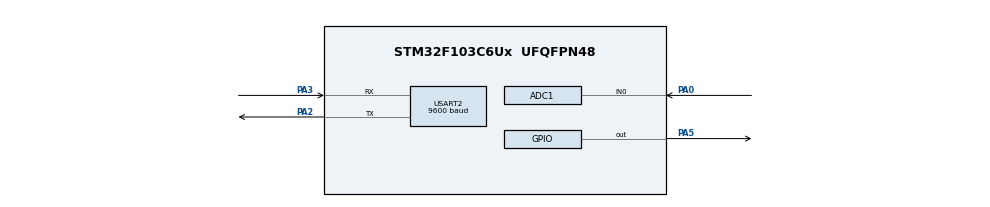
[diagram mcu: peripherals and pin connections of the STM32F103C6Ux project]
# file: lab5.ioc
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ADC1.Channel-0\#ChannelRegularConversion=ADC_CHANNEL_0
ADC1.ContinuousConvMode=ENABLE
ADC1.NbrOfConversionFlag=1
ADC1.Rank-0\#ChannelRegularConversion=1
ADC1.SamplingTime-0\#ChannelRegularConversion=ADC_SAMPLETIME_1CYCLE_5
ADC1.master=1
Mcu.Family=STM32F1
Mcu.Name=STM32F103C6Ux
Mcu.Package=UFQFPN48
NVIC.PriorityGroup=NVIC_PRIORITYGROUP_4
NVIC.TIM2_IRQn=true\:0\:0\:false\:false\:true\:true\:true
NVIC.USART2_IRQn=true\:0\:0\:false\:false\:true\:true\:true
PA0-WKUP.Signal=ADCx_IN0
PA2.Mode=Asynchronous
PA2.Signal=USART2_TX
PA3.Mode=Asynchronous
PA3.Signal=USART2_RX
PA5.Signal=GPIO_Output
ProjectManager.HeapSize=0x200
ProjectManager.StackSize=0x400
ProjectManager.TargetToolchain=STM32CubeIDE
RCC.APB1Freq_Value=8000000
RCC.APB2Freq_Value=8000000
SH.ADCx_IN0.0=ADC1_IN0,IN0
TIM2.Period=9
TIM2.Prescaler=7999
USART2.BaudRate=9600
USART2.VirtualMode=VM_ASYNC
VP_SYS_VS_ND.Mode=No_Debug
VP_TIM2_VS_ClockSourceINT.Mode=Internal
board=custom

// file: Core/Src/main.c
/* USER CODE BEGIN Header */
/**
  ******************************************************************************
  * @file           : main.c
  * @brief          : Main program body
  ******************************************************************************
  * @attention
  *
  * <h2><center>&copy; Copyright (c) 2024 STMicroelectronics.
  * All rights reserved.</center></h2>
  *
  * This software component is licensed by ST under BSD 3-Clause license,
  * the "License"; You may not use this file except in compliance with the
  * License. You may obtain a copy of the License at:
  *                        opensource.org/licenses/BSD-3-Clause
  *
  ******************************************************************************
  */
/* USER CODE END Header */
#include "main.h"

/* USER CODE BEGIN Includes */
#include "Timer.h"
#include "Global.h"
#include "cmd_parser.h"
#include "uart_com.h"
/* USER CODE END Includes */

ADC_HandleTypeDef hadc1;

TIM_HandleTypeDef htim2;

UART_HandleTypeDef huart2;

void SystemClock_Config(void);
static void MX_GPIO_Init(void);
static void MX_TIM2_Init(void);
static void MX_USART2_UART_Init(void);
static void MX_ADC1_Init(void);
/* USER CODE BEGIN PFP */
void HAL_TIM_PeriodElapsedCallback(TIM_HandleTypeDef *htim);
void HAL_UART_RxCpltCallback(UART_HandleTypeDef *huart);
/* USER CODE END PFP */

/* USER CODE BEGIN 0 */
void HAL_UART_RxCpltCallback(UART_HandleTypeDef *huart){
	if(huart->Instance == USART2){
		HAL_UART_Transmit(&huart2, &tmp, 1, 100);
		buffer[id_buffer++] = tmp;
		if(id_buffer >= MAX_BUFFER_SIZE){
			id_buffer = 0;
		}
		flag_buffer = 1;
		HAL_UART_Receive_IT(&huart2, &tmp, 1);
	}
}

/* USER CODE END 0 */

int main(void)
{

  /* MCU Configuration--------------------------------------------------------*/

  /* Reset of all peripherals, Initializes the Flash interface and the Systick. */
  HAL_Init();

  /* Configure the system clock */
  SystemClock_Config();

  /* Initialize all configured peripherals */
  MX_GPIO_Init();
  MX_TIM2_Init();
  MX_USART2_UART_Init();
  MX_ADC1_Init();

  /* Infinite loop */
  /* USER CODE BEGIN WHILE */
  	HAL_ADC_Start(&hadc1);
    HAL_TIM_Base_Start_IT(&htim2);
    HAL_UART_Receive_IT(&huart2, &tmp, 1); //coi
  while (1)
  {
//	HAL_GPIO_TogglePin(GPIOA, GPIO_PIN_5);
//	ADC_value = HAL_ADC_GetValue (&hadc1);
//	HAL_UART_Transmit (& huart2 , ( void *) str , sprintf (str , "%ld\n"
//	, ADC_value), 1000);
//	HAL_Delay (500);
    /* USER CODE END WHILE */
	if(flag_buffer==1)
	{
		cmd_parser_fsm();
		flag_buffer=0;
	}
	uart_com_fsm();
  }
}

void SystemClock_Config(void)
{
  RCC_OscInitTypeDef RCC_OscInitStruct = {0};
  RCC_ClkInitTypeDef RCC_ClkInitStruct = {0};
  RCC_PeriphCLKInitTypeDef PeriphClkInit = {0};

  /** Initializes the RCC Oscillators according to the specified parameters
  * in the RCC_OscInitTypeDef structure.
  */
  RCC_OscInitStruct.OscillatorType = RCC_OSCILLATORTYPE_HSI;
  RCC_OscInitStruct.HSIState = RCC_HSI_ON;
  RCC_OscInitStruct.HSICalibrationValue = RCC_HSICALIBRATION_DEFAULT;
  RCC_OscInitStruct.PLL.PLLState = RCC_PLL_NONE;
  if (HAL_RCC_OscConfig(&RCC_OscInitStruct) != HAL_OK)
  {
    Error_Handler();
  }
  /** Initializes the CPU, AHB and APB buses clocks
  */
  RCC_ClkInitStruct.ClockType = RCC_CLOCKTYPE_HCLK|RCC_CLOCKTYPE_SYSCLK
                              |RCC_CLOCKTYPE_PCLK1|RCC_CLOCKTYPE_PCLK2;
  RCC_ClkInitStruct.SYSCLKSource = RCC_SYSCLKSOURCE_HSI;
  RCC_ClkInitStruct.AHBCLKDivider = RCC_SYSCLK_DIV1;
  RCC_ClkInitStruct.APB1CLKDivider = RCC_HCLK_DIV1;
  RCC_ClkInitStruct.APB2CLKDivider = RCC_HCLK_DIV1;

  if (HAL_RCC_ClockConfig(&RCC_ClkInitStruct, FLASH_LATENCY_0) != HAL_OK)
  {
    Error_Handler();
  }
  PeriphClkInit.PeriphClockSelection = RCC_PERIPHCLK_ADC;
  PeriphClkInit.AdcClockSelection = RCC_ADCPCLK2_DIV2;
  if (HAL_RCCEx_PeriphCLKConfig(&PeriphClkInit) != HAL_OK)
  {
    Error_Handler();
  }
}

static void MX_ADC1_Init(void)
{

  ADC_ChannelConfTypeDef sConfig = {0};

  /** Common config
  */
  hadc1.Instance = ADC1;
  hadc1.Init.ScanConvMode = ADC_SCAN_DISABLE;
  hadc1.Init.ContinuousConvMode = ENABLE;
  hadc1.Init.DiscontinuousConvMode = DISABLE;
  hadc1.Init.ExternalTrigConv = ADC_SOFTWARE_START;
  hadc1.Init.DataAlign = ADC_DATAALIGN_RIGHT;
  hadc1.Init.NbrOfConversion = 1;
  if (HAL_ADC_Init(&hadc1) != HAL_OK)
  {
    Error_Handler();
  }
  /** Configure Regular Channel
  */
  sConfig.Channel = ADC_CHANNEL_0;
  sConfig.Rank = ADC_REGULAR_RANK_1;
  sConfig.SamplingTime = ADC_SAMPLETIME_1CYCLE_5;
  if (HAL_ADC_ConfigChannel(&hadc1, &sConfig) != HAL_OK)
  {
    Error_Handler();
  }

}

static void MX_TIM2_Init(void)
{

  TIM_ClockConfigTypeDef sClockSourceConfig = {0};
  TIM_MasterConfigTypeDef sMasterConfig = {0};

  htim2.Instance = TIM2;
  htim2.Init.Prescaler = 7999;
  htim2.Init.CounterMode = TIM_COUNTERMODE_UP;
  htim2.Init.Period = 9;
  htim2.Init.ClockDivision = TIM_CLOCKDIVISION_DIV1;
  htim2.Init.AutoReloadPreload = TIM_AUTORELOAD_PRELOAD_DISABLE;
  if (HAL_TIM_Base_Init(&htim2) != HAL_OK)
  {
    Error_Handler();
  }
  sClockSourceConfig.ClockSource = TIM_CLOCKSOURCE_INTERNAL;
  if (HAL_TIM_ConfigClockSource(&htim2, &sClockSourceConfig) != HAL_OK)
  {
    Error_Handler();
  }
  sMasterConfig.MasterOutputTrigger = TIM_TRGO_RESET;
  sMasterConfig.MasterSlaveMode = TIM_MASTERSLAVEMODE_DISABLE;
  if (HAL_TIMEx_MasterConfigSynchronization(&htim2, &sMasterConfig) != HAL_OK)
  {
    Error_Handler();
  }

}

static void MX_USART2_UART_Init(void)
{

  huart2.Instance = USART2;
  huart2.Init.BaudRate = 9600;
  huart2.Init.WordLength = UART_WORDLENGTH_8B;
  huart2.Init.StopBits = UART_STOPBITS_1;
  huart2.Init.Parity = UART_PARITY_NONE;
  huart2.Init.Mode = UART_MODE_TX_RX;
  huart2.Init.HwFlowCtl = UART_HWCONTROL_NONE;
  huart2.Init.OverSampling = UART_OVERSAMPLING_16;
  if (HAL_UART_Init(&huart2) != HAL_OK)
  {
    Error_Handler();
  }

}

static void MX_GPIO_Init(void)
{
  GPIO_InitTypeDef GPIO_InitStruct = {0};

  /* GPIO Ports Clock Enable */
  __HAL_RCC_GPIOA_CLK_ENABLE();

  /*Configure GPIO pin Output Level */
  HAL_GPIO_WritePin(GPIOA, GPIO_PIN_5, GPIO_PIN_RESET);

  /*Configure GPIO pin : PA5 */
  GPIO_InitStruct.Pin = GPIO_PIN_5;
  GPIO_InitStruct.Mode = GPIO_MODE_OUTPUT_PP;
  GPIO_InitStruct.Pull = GPIO_NOPULL;
  GPIO_InitStruct.Speed = GPIO_SPEED_FREQ_LOW;
  HAL_GPIO_Init(GPIOA, &GPIO_InitStruct);

}

/* USER CODE BEGIN 4 */
void HAL_TIM_PeriodElapsedCallback(TIM_HandleTypeDef *htim){
	runTimer();
}

/* USER CODE END 4 */

void Error_Handler(void)
{
  __disable_irq();
  while (1)
  {
  }
}

/************************ (C) COPYRIGHT STMicroelectronics *****END OF FILE****/
